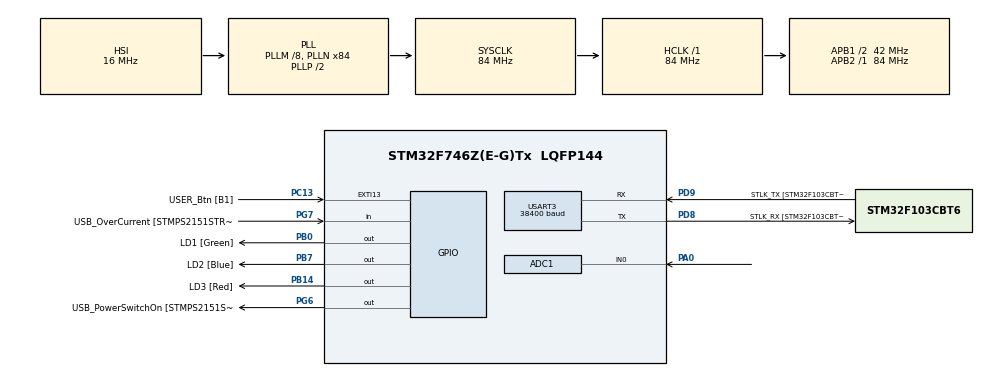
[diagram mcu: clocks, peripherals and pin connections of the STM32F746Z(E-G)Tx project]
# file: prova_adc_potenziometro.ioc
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ADC1.Channel-4\#ChannelRegularConversion=ADC_CHANNEL_TEMPSENSOR
ADC1.Channel-5\#ChannelRegularConversion=ADC_CHANNEL_0
ADC1.ClockPrescaler=ADC_CLOCK_SYNC_PCLK_DIV4
ADC1.ContinuousConvMode=DISABLE
ADC1.DMAContinuousRequests=DISABLE
ADC1.DataAlign=ADC_DATAALIGN_RIGHT
ADC1.DiscontinuousConvMode=DISABLE
ADC1.EOCSelection=ADC_EOC_SINGLE_CONV
ADC1.EnableAnalogWatchDog=false
ADC1.ExternalTrigConv=ADC_SOFTWARE_START
ADC1.ExternalTrigConvEdge=ADC_EXTERNALTRIGCONVEDGE_NONE
ADC1.InjNumberOfConversion=0
ADC1.NbrOfConversion=2
ADC1.NbrOfConversionFlag=1
ADC1.Rank-4\#ChannelRegularConversion=1
ADC1.Rank-5\#ChannelRegularConversion=2
ADC1.Resolution=ADC_RESOLUTION_12B
ADC1.SamplingTime-4\#ChannelRegularConversion=ADC_SAMPLETIME_480CYCLES
ADC1.SamplingTime-5\#ChannelRegularConversion=ADC_SAMPLETIME_480CYCLES
ADC1.ScanConvMode=ENABLE
ADC1.master=1
Mcu.Family=STM32F7
Mcu.Name=STM32F746Z(E-G)Tx
Mcu.Package=LQFP144
NVIC.PriorityGroup=NVIC_PRIORITYGROUP_4
NVIC.RCC_IRQn=true\:0\:0\:false\:false\:true
PA0/WKUP.Signal=ADCx_IN0
PA1.GPIO_Label=RMII_REF_CLK [LAN8742A-CZ-TR_REFCLK0]
PA1.Signal=ETH_REF_CLK
PA10.GPIO_Label=USB_ID
PA10.Signal=USB_OTG_FS_ID
PA11.GPIO_Label=USB_DM
PA11.Signal=USB_OTG_FS_DM
PA12.GPIO_Label=USB_DP
PA12.Signal=USB_OTG_FS_DP
PA13.GPIO_Label=TMS
PA13.Signal=SYS_JTMS-SWDIO
PA14.GPIO_Label=TCK
PA14.Signal=SYS_JTCK-SWCLK
PA2.GPIO_Label=RMII_MDIO [LAN8742A-CZ-TR_MDIO]
PA2.Signal=ETH_MDIO
PA7.GPIO_Label=RMII_CRS_DV [LAN8742A-CZ-TR_CRS_DV]
PA7.Signal=ETH_CRS_DV
PA8.GPIO_Label=USB_SOF [TP1]
PA8.Signal=USB_OTG_FS_SOF
PA9.GPIO_Label=USB_VBUS
PA9.Signal=USB_OTG_FS_VBUS
PB0.GPIO_Label=LD1 [Green]
PB0.Signal=GPIO_Output
PB13.GPIO_Label=RMII_TXD1 [LAN8742A-CZ-TR_TXD1]
PB13.Signal=ETH_TXD1
PB14.GPIO_Label=LD3 [Red]
PB14.Signal=GPIO_Output
PB3.GPIO_Label=SW0
PB3.Signal=SYS_JTDO-SWO
PB7.GPIO_Label=LD2 [Blue]
PB7.Signal=GPIO_Output
PC1.GPIO_Label=RMII_MDC [LAN8742A-CZ-TR_MDC]
PC1.Signal=ETH_MDC
PC13.GPIO_Label=USER_Btn [B1]
PC13.Signal=GPXTI13
PC14/OSC32_IN.Signal=RCC_OSC32_IN
PC15/OSC32_OUT.Signal=RCC_OSC32_OUT
PC4.GPIO_Label=RMII_RXD0 [LAN8742A-CZ-TR_RXD0]
PC4.Signal=ETH_RXD0
PC5.GPIO_Label=RMII_RXD1 [LAN8742A-CZ-TR_RXD1]
PC5.Signal=ETH_RXD1
PD8.GPIO_Label=STLK_RX [STM32F103CBT6_PA3]
PD8.Mode=Asynchronous
PD8.Signal=USART3_TX
PD9.GPIO_Label=STLK_TX [STM32F103CBT6_PA2]
PD9.Mode=Asynchronous
PD9.Signal=USART3_RX
PG11.GPIO_Label=RMII_TX_EN [LAN8742A-CZ-TR_TXEN]
PG11.Signal=ETH_TX_EN
PG13.GPIO_Label=RMII_TXD0 [LAN8742A-CZ-TR_TXD0]
PG13.Signal=ETH_TXD0
PG6.GPIO_Label=USB_PowerSwitchOn [STMPS2151STR_EN]
PG6.Signal=GPIO_Output
PG7.GPIO_Label=USB_OverCurrent [STMPS2151STR_FAULT]
PG7.Signal=GPIO_Input
PH0/OSC_IN.GPIO_Label=MCO [STM32F103CBT6_PA8]
PH0/OSC_IN.Signal=RCC_OSC_IN
PH1/OSC_OUT.Signal=RCC_OSC_OUT
ProjectManager.HeapSize=0x200
ProjectManager.StackSize=0x400
ProjectManager.TargetToolchain=MDK-ARM V5
RCC.48MHZClocksFreq_Value=24000000
RCC.AHBFreq_Value=84000000
RCC.APB1CLKDivider=RCC_HCLK_DIV2
RCC.APB1Freq_Value=42000000
RCC.APB1TimFreq_Value=84000000
RCC.APB2Freq_Value=84000000
RCC.APB2TimFreq_Value=84000000
RCC.CortexFreq_Value=84000000
RCC.HCLKFreq_Value=84000000
RCC.HSE_VALUE=8000000
RCC.HSI_VALUE=16000000
RCC.LSE_VALUE=32768
RCC.PLLM=8
RCC.PLLMUL=RCC_PLL_MUL9
RCC.PLLN=84
RCC.PRESCALERUSB=RCC_USBCLKSOURCE_PLL_DIV1_5
RCC.SYSCLKFreq_VALUE=84000000
RCC.SYSCLKSource=RCC_SYSCLKSOURCE_PLLCLK
RCC.SYSCLKSourceVirtual=RCC_SYSCLKSOURCE_PLLCLK
RCC.USBFreq_Value=84000000
RCC.VCOOutputFreq_Value=168000000
SH.ADCx_IN0.0=ADC1_IN0,IN0
USART3.BaudRate=38400
USART3.DMADisableonRxErrorParam=UART_ADVFEATURE_DMA_DISABLEONRXERROR
USART3.OverrunDisableParam=UART_ADVFEATURE_OVERRUN_DISABLE
USART3.VirtualMode-Asynchronous=VM_ASYNC
USART3.WordLength=WORDLENGTH_8B
VP_ADC1_TempSens_Input.Mode=IN-TempSens
board=NUCLEO-F746ZG

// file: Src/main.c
/**
  ******************************************************************************
  * File Name          : main.c
  * Description        : Main program body
  ******************************************************************************
  ** This notice applies to any and all portions of this file
  * that are not between comment pairs USER CODE BEGIN and
  * USER CODE END. Other portions of this file, whether
  * inserted by the user or by software development tools
  * are owned by their respective copyright owners.
  *
  * COPYRIGHT(c) 2017 STMicroelectronics
  *
  * Redistribution and use in source and binary forms, with or without modification,
  * are permitted provided that the following conditions are met:
  *   1. Redistributions of source code must retain the above copyright notice,
  *      this list of conditions and the following disclaimer.
  *   2. Redistributions in binary form must reproduce the above copyright notice,
  *      this list of conditions and the following disclaimer in the documentation
  *      and/or other materials provided with the distribution.
  *   3. Neither the name of STMicroelectronics nor the names of its contributors
  *      may be used to endorse or promote products derived from this software
  *      without specific prior written permission.
  *
  * THIS SOFTWARE IS PROVIDED BY THE COPYRIGHT HOLDERS AND CONTRIBUTORS "AS IS"
  * AND ANY EXPRESS OR IMPLIED WARRANTIES, INCLUDING, BUT NOT LIMITED TO, THE
  * IMPLIED WARRANTIES OF MERCHANTABILITY AND FITNESS FOR A PARTICULAR PURPOSE ARE
  * DISCLAIMED. IN NO EVENT SHALL THE COPYRIGHT HOLDER OR CONTRIBUTORS BE LIABLE
  * FOR ANY DIRECT, INDIRECT, INCIDENTAL, SPECIAL, EXEMPLARY, OR CONSEQUENTIAL
  * DAMAGES (INCLUDING, BUT NOT LIMITED TO, PROCUREMENT OF SUBSTITUTE GOODS OR
  * SERVICES; LOSS OF USE, DATA, OR PROFITS; OR BUSINESS INTERRUPTION) HOWEVER
  * CAUSED AND ON ANY THEORY OF LIABILITY, WHETHER IN CONTRACT, STRICT LIABILITY,
  * OR TORT (INCLUDING NEGLIGENCE OR OTHERWISE) ARISING IN ANY WAY OUT OF THE USE
  * OF THIS SOFTWARE, EVEN IF ADVISED OF THE POSSIBILITY OF SUCH DAMAGE.
  *
  ******************************************************************************
  */
#include "main.h"
#include "stm32f7xx_hal.h"

ADC_HandleTypeDef hadc1;

UART_HandleTypeDef huart3;

/* USER CODE BEGIN PV */
/* Private variables ---------------------------------------------------------*/
uint16_t rawValue1;
uint16_t rawValue2;

float adcValue;
float temp;
char msg[20];

/* USER CODE END PV */

void SystemClock_Config(void);
static void MX_GPIO_Init(void);
static void MX_USART3_UART_Init(void);
static void MX_ADC1_Init(void);

/* USER CODE BEGIN PFP */
/* Private function prototypes -----------------------------------------------*/

/* USER CODE END PFP */

int main(void)
{

  /* MCU Configuration----------------------------------------------------------*/

  /* Reset of all peripherals, Initializes the Flash interface and the Systick. */
  HAL_Init();

  /* Configure the system clock */
  SystemClock_Config();

  /* Initialize all configured peripherals */
  MX_GPIO_Init();
  MX_USART3_UART_Init();
  MX_ADC1_Init();

  /* Infinite loop */
  while (1)
  {

  /* USER CODE BEGIN 3 */
	uint8_t a;

	HAL_ADC_Start(&hadc1);

	HAL_ADC_PollForConversion(&hadc1, HAL_MAX_DELAY);
	rawValue1 = HAL_ADC_GetValue(&hadc1);
	HAL_ADC_PollForConversion(&hadc1, HAL_MAX_DELAY);
	rawValue2 = HAL_ADC_GetValue(&hadc1);

	//a=HAL_ADCEx_MultiModeGetValue(&hadc1);

	sprintf(msg, "rawValue: %hu\r\n", rawValue1);
	HAL_UART_Transmit(&huart3, (uint8_t*) msg, strlen(msg), HAL_MAX_DELAY);

	temp = ((float)rawValue1) / 4095 * 3300;
	temp = ((temp - 760.0) / 2.5) + 25;
	sprintf(msg, "Temperature: %f\r\n", temp);
	HAL_UART_Transmit(&huart3, (uint8_t*) msg, strlen(msg), HAL_MAX_DELAY);

	sprintf(msg, "rawValue2: %hu\r\n", rawValue2);
	HAL_UART_Transmit(&huart3, (uint8_t*) msg, strlen(msg), HAL_MAX_DELAY);

	HAL_ADC_Stop(&hadc1);

	HAL_Delay(1000);
  }
  /* USER CODE END 3 */

}

/** System Clock Configuration
*/
void SystemClock_Config(void)
{

  RCC_OscInitTypeDef RCC_OscInitStruct;
  RCC_ClkInitTypeDef RCC_ClkInitStruct;
  RCC_PeriphCLKInitTypeDef PeriphClkInitStruct;

    /**Configure the main internal regulator output voltage
    */
  __HAL_RCC_PWR_CLK_ENABLE();

  __HAL_PWR_VOLTAGESCALING_CONFIG(PWR_REGULATOR_VOLTAGE_SCALE3);

    /**Initializes the CPU, AHB and APB busses clocks
    */
  RCC_OscInitStruct.OscillatorType = RCC_OSCILLATORTYPE_HSI;
  RCC_OscInitStruct.HSIState = RCC_HSI_ON;
  RCC_OscInitStruct.HSICalibrationValue = 16;
  RCC_OscInitStruct.PLL.PLLState = RCC_PLL_ON;
  RCC_OscInitStruct.PLL.PLLSource = RCC_PLLSOURCE_HSI;
  RCC_OscInitStruct.PLL.PLLM = 8;
  RCC_OscInitStruct.PLL.PLLN = 84;
  RCC_OscInitStruct.PLL.PLLP = RCC_PLLP_DIV2;
  RCC_OscInitStruct.PLL.PLLQ = 2;
  if (HAL_RCC_OscConfig(&RCC_OscInitStruct) != HAL_OK)
  {
    _Error_Handler(__FILE__, __LINE__);
  }

    /**Initializes the CPU, AHB and APB busses clocks
    */
  RCC_ClkInitStruct.ClockType = RCC_CLOCKTYPE_HCLK|RCC_CLOCKTYPE_SYSCLK
                              |RCC_CLOCKTYPE_PCLK1|RCC_CLOCKTYPE_PCLK2;
  RCC_ClkInitStruct.SYSCLKSource = RCC_SYSCLKSOURCE_PLLCLK;
  RCC_ClkInitStruct.AHBCLKDivider = RCC_SYSCLK_DIV1;
  RCC_ClkInitStruct.APB1CLKDivider = RCC_HCLK_DIV2;
  RCC_ClkInitStruct.APB2CLKDivider = RCC_HCLK_DIV1;

  if (HAL_RCC_ClockConfig(&RCC_ClkInitStruct, FLASH_LATENCY_2) != HAL_OK)
  {
    _Error_Handler(__FILE__, __LINE__);
  }

  PeriphClkInitStruct.PeriphClockSelection = RCC_PERIPHCLK_USART3;
  PeriphClkInitStruct.Usart3ClockSelection = RCC_USART3CLKSOURCE_PCLK1;
  if (HAL_RCCEx_PeriphCLKConfig(&PeriphClkInitStruct) != HAL_OK)
  {
    _Error_Handler(__FILE__, __LINE__);
  }

    /**Configure the Systick interrupt time
    */
  HAL_SYSTICK_Config(HAL_RCC_GetHCLKFreq()/1000);

    /**Configure the Systick
    */
  HAL_SYSTICK_CLKSourceConfig(SYSTICK_CLKSOURCE_HCLK);

  /* SysTick_IRQn interrupt configuration */
  HAL_NVIC_SetPriority(SysTick_IRQn, 0, 0);
}

/* ADC1 init function */
static void MX_ADC1_Init(void)
{

  ADC_ChannelConfTypeDef sConfig;

    /**Configure the global features of the ADC (Clock, Resolution, Data Alignment and number of conversion)
    */
  hadc1.Instance = ADC1;
  hadc1.Init.ClockPrescaler = ADC_CLOCK_SYNC_PCLK_DIV4;
  hadc1.Init.Resolution = ADC_RESOLUTION_12B;
  hadc1.Init.ScanConvMode = ENABLE;
  hadc1.Init.ContinuousConvMode = DISABLE;
  hadc1.Init.DiscontinuousConvMode = DISABLE;
  hadc1.Init.ExternalTrigConvEdge = ADC_EXTERNALTRIGCONVEDGE_NONE;
  hadc1.Init.ExternalTrigConv = ADC_SOFTWARE_START;
  hadc1.Init.DataAlign = ADC_DATAALIGN_RIGHT;
  hadc1.Init.NbrOfConversion = 2;
  hadc1.Init.DMAContinuousRequests = DISABLE;
  hadc1.Init.EOCSelection = ADC_EOC_SINGLE_CONV;
  if (HAL_ADC_Init(&hadc1) != HAL_OK)
  {
    _Error_Handler(__FILE__, __LINE__);
  }

    /**Configure for the selected ADC regular channel its corresponding rank in the sequencer and its sample time.
    */
  sConfig.Channel = ADC_CHANNEL_TEMPSENSOR;
  sConfig.Rank = 1;
  sConfig.SamplingTime = ADC_SAMPLETIME_480CYCLES;
  if (HAL_ADC_ConfigChannel(&hadc1, &sConfig) != HAL_OK)
  {
    _Error_Handler(__FILE__, __LINE__);
  }

    /**Configure for the selected ADC regular channel its corresponding rank in the sequencer and its sample time.
    */
  sConfig.Channel = ADC_CHANNEL_0;
  sConfig.Rank = 2;
  if (HAL_ADC_ConfigChannel(&hadc1, &sConfig) != HAL_OK)
  {
    _Error_Handler(__FILE__, __LINE__);
  }

}

/* USART3 init function */
static void MX_USART3_UART_Init(void)
{

  huart3.Instance = USART3;
  huart3.Init.BaudRate = 38400;
  huart3.Init.WordLength = UART_WORDLENGTH_8B;
  huart3.Init.StopBits = UART_STOPBITS_1;
  huart3.Init.Parity = UART_PARITY_NONE;
  huart3.Init.Mode = UART_MODE_TX_RX;
  huart3.Init.HwFlowCtl = UART_HWCONTROL_NONE;
  huart3.Init.OverSampling = UART_OVERSAMPLING_16;
  huart3.Init.OneBitSampling = UART_ONE_BIT_SAMPLE_DISABLE;
  huart3.AdvancedInit.AdvFeatureInit = UART_ADVFEATURE_RXOVERRUNDISABLE_INIT|UART_ADVFEATURE_DMADISABLEONERROR_INIT;
  huart3.AdvancedInit.OverrunDisable = UART_ADVFEATURE_OVERRUN_DISABLE;
  huart3.AdvancedInit.DMADisableonRxError = UART_ADVFEATURE_DMA_DISABLEONRXERROR;
  if (HAL_UART_Init(&huart3) != HAL_OK)
  {
    _Error_Handler(__FILE__, __LINE__);
  }

}

/** Configure pins as
        * Analog
        * Input
        * Output
        * EVENT_OUT
        * EXTI
     PC1   ------> ETH_MDC
     PA1   ------> ETH_REF_CLK
     PA2   ------> ETH_MDIO
     PA7   ------> ETH_CRS_DV
     PC4   ------> ETH_RXD0
     PC5   ------> ETH_RXD1
     PB13   ------> ETH_TXD1
     PA8   ------> USB_OTG_FS_SOF
     PA9   ------> USB_OTG_FS_VBUS
     PA10   ------> USB_OTG_FS_ID
     PA11   ------> USB_OTG_FS_DM
     PA12   ------> USB_OTG_FS_DP
     PG11   ------> ETH_TX_EN
     PG13   ------> ETH_TXD0
*/
static void MX_GPIO_Init(void)
{

  GPIO_InitTypeDef GPIO_InitStruct;

  /* GPIO Ports Clock Enable */
  __HAL_RCC_GPIOC_CLK_ENABLE();
  __HAL_RCC_GPIOH_CLK_ENABLE();
  __HAL_RCC_GPIOA_CLK_ENABLE();
  __HAL_RCC_GPIOB_CLK_ENABLE();
  __HAL_RCC_GPIOD_CLK_ENABLE();
  __HAL_RCC_GPIOG_CLK_ENABLE();

  /*Configure GPIO pin Output Level */
  HAL_GPIO_WritePin(GPIOB, LD1_Pin|LD3_Pin|LD2_Pin, GPIO_PIN_RESET);

  /*Configure GPIO pin Output Level */
  HAL_GPIO_WritePin(USB_PowerSwitchOn_GPIO_Port, USB_PowerSwitchOn_Pin, GPIO_PIN_RESET);

  /*Configure GPIO pin : USER_Btn_Pin */
  GPIO_InitStruct.Pin = USER_Btn_Pin;
  GPIO_InitStruct.Mode = GPIO_MODE_IT_RISING;
  GPIO_InitStruct.Pull = GPIO_NOPULL;
  HAL_GPIO_Init(USER_Btn_GPIO_Port, &GPIO_InitStruct);

  /*Configure GPIO pins : RMII_MDC_Pin RMII_RXD0_Pin RMII_RXD1_Pin */
  GPIO_InitStruct.Pin = RMII_MDC_Pin|RMII_RXD0_Pin|RMII_RXD1_Pin;
  GPIO_InitStruct.Mode = GPIO_MODE_AF_PP;
  GPIO_InitStruct.Pull = GPIO_NOPULL;
  GPIO_InitStruct.Speed = GPIO_SPEED_FREQ_VERY_HIGH;
  GPIO_InitStruct.Alternate = GPIO_AF11_ETH;
  HAL_GPIO_Init(GPIOC, &GPIO_InitStruct);

  /*Configure GPIO pins : RMII_REF_CLK_Pin RMII_MDIO_Pin RMII_CRS_DV_Pin */
  GPIO_InitStruct.Pin = RMII_REF_CLK_Pin|RMII_MDIO_Pin|RMII_CRS_DV_Pin;
  GPIO_InitStruct.Mode = GPIO_MODE_AF_PP;
  GPIO_InitStruct.Pull = GPIO_NOPULL;
  GPIO_InitStruct.Speed = GPIO_SPEED_FREQ_VERY_HIGH;
  GPIO_InitStruct.Alternate = GPIO_AF11_ETH;
  HAL_GPIO_Init(GPIOA, &GPIO_InitStruct);

  /*Configure GPIO pins : LD1_Pin LD3_Pin LD2_Pin */
  GPIO_InitStruct.Pin = LD1_Pin|LD3_Pin|LD2_Pin;
  GPIO_InitStruct.Mode = GPIO_MODE_OUTPUT_PP;
  GPIO_InitStruct.Pull = GPIO_NOPULL;
  GPIO_InitStruct.Speed = GPIO_SPEED_FREQ_LOW;
  HAL_GPIO_Init(GPIOB, &GPIO_InitStruct);

  /*Configure GPIO pin : RMII_TXD1_Pin */
  GPIO_InitStruct.Pin = RMII_TXD1_Pin;
  GPIO_InitStruct.Mode = GPIO_MODE_AF_PP;
  GPIO_InitStruct.Pull = GPIO_NOPULL;
  GPIO_InitStruct.Speed = GPIO_SPEED_FREQ_VERY_HIGH;
  GPIO_InitStruct.Alternate = GPIO_AF11_ETH;
  HAL_GPIO_Init(RMII_TXD1_GPIO_Port, &GPIO_InitStruct);

  /*Configure GPIO pin : USB_PowerSwitchOn_Pin */
  GPIO_InitStruct.Pin = USB_PowerSwitchOn_Pin;
  GPIO_InitStruct.Mode = GPIO_MODE_OUTPUT_PP;
  GPIO_InitStruct.Pull = GPIO_NOPULL;
  GPIO_InitStruct.Speed = GPIO_SPEED_FREQ_LOW;
  HAL_GPIO_Init(USB_PowerSwitchOn_GPIO_Port, &GPIO_InitStruct);

  /*Configure GPIO pin : USB_OverCurrent_Pin */
  GPIO_InitStruct.Pin = USB_OverCurrent_Pin;
  GPIO_InitStruct.Mode = GPIO_MODE_INPUT;
  GPIO_InitStruct.Pull = GPIO_NOPULL;
  HAL_GPIO_Init(USB_OverCurrent_GPIO_Port, &GPIO_InitStruct);

  /*Configure GPIO pins : USB_SOF_Pin USB_ID_Pin USB_DM_Pin USB_DP_Pin */
  GPIO_InitStruct.Pin = USB_SOF_Pin|USB_ID_Pin|USB_DM_Pin|USB_DP_Pin;
  GPIO_InitStruct.Mode = GPIO_MODE_AF_PP;
  GPIO_InitStruct.Pull = GPIO_NOPULL;
  GPIO_InitStruct.Speed = GPIO_SPEED_FREQ_VERY_HIGH;
  GPIO_InitStruct.Alternate = GPIO_AF10_OTG_FS;
  HAL_GPIO_Init(GPIOA, &GPIO_InitStruct);

  /*Configure GPIO pin : USB_VBUS_Pin */
  GPIO_InitStruct.Pin = USB_VBUS_Pin;
  GPIO_InitStruct.Mode = GPIO_MODE_INPUT;
  GPIO_InitStruct.Pull = GPIO_NOPULL;
  HAL_GPIO_Init(USB_VBUS_GPIO_Port, &GPIO_InitStruct);

  /*Configure GPIO pins : RMII_TX_EN_Pin RMII_TXD0_Pin */
  GPIO_InitStruct.Pin = RMII_TX_EN_Pin|RMII_TXD0_Pin;
  GPIO_InitStruct.Mode = GPIO_MODE_AF_PP;
  GPIO_InitStruct.Pull = GPIO_NOPULL;
  GPIO_InitStruct.Speed = GPIO_SPEED_FREQ_VERY_HIGH;
  GPIO_InitStruct.Alternate = GPIO_AF11_ETH;
  HAL_GPIO_Init(GPIOG, &GPIO_InitStruct);

}

void _Error_Handler(char * file, int line)
{
  while(1)
  {
  }
}

/************************ (C) COPYRIGHT STMicroelectronics *****END OF FILE****/
